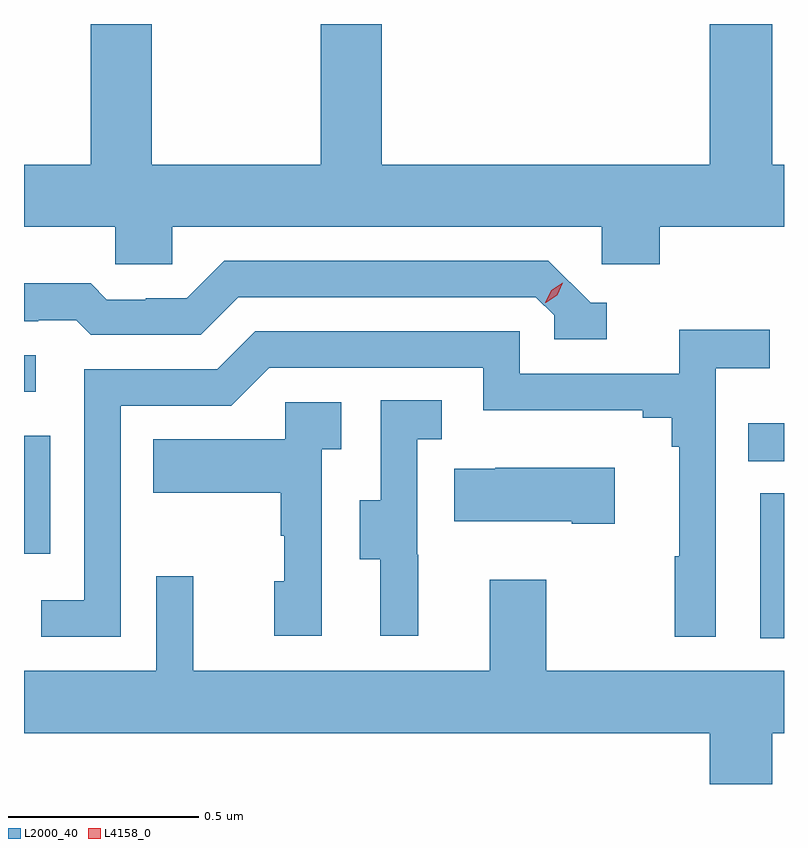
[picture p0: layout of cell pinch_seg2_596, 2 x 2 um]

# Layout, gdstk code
import gdstk
lib = gdstk.Library(unit=1e-6, precision=1e-09)
def R(c, l, rs):  # rectangles x0, y0, x1, y1
    for r in rs: c.add(gdstk.rectangle(r[:2], r[2:], *l))
def P(c, l, *ps):  # polygons
    for p in ps: c.add(gdstk.Polygon(p, *l))
L2000_40 = (2000, 40)
L4158_0 = (4158, 0)

pinch_seg2_596 = lib.new_cell('pinch_seg2_596')
R(pinch_seg2_596, L2000_40, [(1124.18,609.257,1124.243,609.639), (1122.243,609.48,1122.312,609.79), (1124.149,609.724,1124.243,609.823), (1122.243,609.906,1122.274,610.002)])
P(pinch_seg2_596, L2000_40, [(1122.633,610.34),(1123.764,610.34),(1123.764,610.242),(1123.916,610.242),(1123.916,610.34),(1124.243,610.34),(1124.243,610.504),(1124.212,610.504),(1124.212,610.874),(1124.048,610.874),(1124.048,610.504),(1123.184,610.504),(1123.184,610.874),(1123.024,610.874),(1123.024,610.504),(1122.579,610.504),(1122.579,610.874),(1122.419,610.874),(1122.419,610.504),(1122.243,610.504),(1122.243,610.34),(1122.483,610.34),(1122.483,610.242),(1122.633,610.242)],
  [(1123.777,610.14),(1123.734,610.14),(1123.623,610.251),(1122.77,610.251),(1122.671,610.152),(1122.564,610.152),(1122.564,610.149),(1122.461,610.149),(1122.419,610.192),(1122.243,610.192),(1122.243,610.092),(1122.281,610.092),(1122.281,610.095),(1122.38,610.095),(1122.419,610.056),(1122.708,610.056),(1122.807,610.155),(1123.59,610.155),(1123.638,610.107),(1123.638,610.044),(1123.777,610.044)],
  [(1122.498,609.87),(1122.789,609.87),(1122.888,609.969),(1123.452,609.969),(1123.452,609.857),(1123.871,609.857),(1123.871,609.838),(1123.948,609.838),(1123.948,609.761),(1123.967,609.761),(1123.967,609.473),(1123.956,609.473),(1123.956,609.261),(1124.064,609.261),(1124.064,609.968),(1124.206,609.968),(1124.206,610.07),(1123.967,610.07),(1123.967,609.954),(1123.548,609.954),(1123.548,610.065),(1122.851,610.065),(1122.752,609.966),(1122.402,609.966),(1122.402,609.357),(1122.289,609.357),(1122.289,609.261),(1122.498,609.261)],
  [(1123.28,609.477),(1123.278,609.477),(1123.278,609.781),(1123.342,609.781),(1123.342,609.884),(1123.182,609.884),(1123.182,609.621),(1123.127,609.621),(1123.127,609.466),(1123.181,609.466),(1123.181,609.264),(1123.28,609.264)],
  [(1123.026,609.755),(1123.078,609.755),(1123.078,609.879),(1122.93,609.879),(1122.93,609.781),(1122.583,609.781),(1122.583,609.641),(1122.918,609.641),(1122.918,609.527),(1122.928,609.527),(1122.928,609.408),(1122.902,609.408),(1122.902,609.264),(1123.026,609.264)],
  [(1123.798,609.706),(1123.483,609.706),(1123.483,609.703),(1123.375,609.703),(1123.375,609.566),(1123.685,609.566),(1123.685,609.559),(1123.798,609.559)],
  [(1124.212,609.008),(1124.243,609.008),(1124.243,609.172),(1123.617,609.172),(1123.617,609.412),(1123.469,609.412),(1123.469,609.172),(1122.689,609.172),(1122.689,609.421),(1122.591,609.421),(1122.591,609.172),(1122.243,609.172),(1122.243,609.008),(1124.048,609.008),(1124.048,608.874),(1124.212,608.874)])
P(pinch_seg2_596, L4158_0, [(1123.615,610.14),(1123.615,610.14),(1123.631,610.173),(1123.661,610.193),(1123.661,610.193),(1123.661,610.193),(1123.646,610.16),(1123.616,610.14)])

lib.write_gds('pinch_seg2_596.gds')
